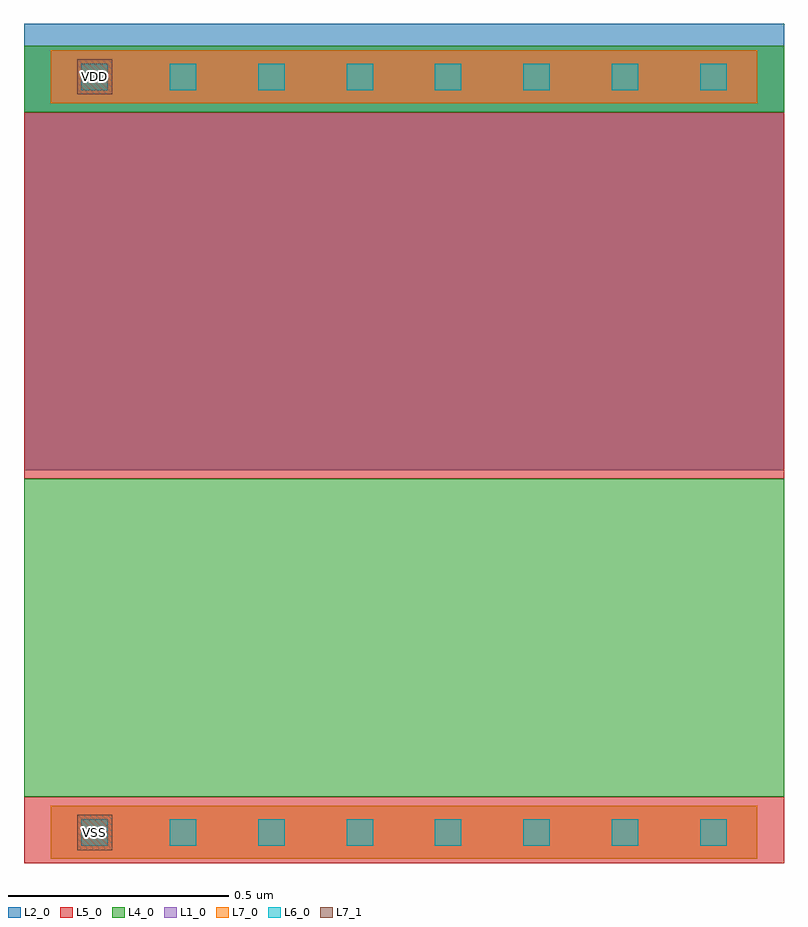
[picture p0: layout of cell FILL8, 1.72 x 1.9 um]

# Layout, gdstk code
import gdstk
lib = gdstk.Library(unit=1e-6, precision=5e-10)
def R(c, l, rs):  # rectangles x0, y0, x1, y1
    for r in rs: c.add(gdstk.rectangle(r[:2], r[2:], *l))
def A(c, l, x, y, w, h, nx, ny, dx, dy):  # array of equal rectangles
    R(c, l, [(x+i*dx, y+j*dy, x+i*dx+w, y+j*dy+h) for i in range(nx) for j in range(ny)])
L1_0 = (1, 0)
L2_0 = (2, 0)
L4_0 = (4, 0)
L5_0 = (5, 0)
L6_0 = (6, 0)
L7_0 = (7, 0)
L7_1 = (7, 1)

fill8 = lib.new_cell('FILL8')
R(fill8, L1_0, [(0,-0.06,1.6,0.06), (0,1.65,1.6,1.77)])
R(fill8, L2_0, [(-0.06,0.82,1.66,1.83)])
R(fill8, L4_0, [(-0.06,0.08,1.66,0.8), (-0.06,1.63,1.66,1.78)])
R(fill8, L5_0, [(-0.06,-0.07,1.66,0.08), (-0.06,0.8,1.66,1.63)])
A(fill8, L6_0, 0.07, -0.03, 0.06, 0.06, 8, 2, 0.2, 1.71)
R(fill8, L7_0, [(0,-0.06,1.6,0.06), (0,1.65,1.6,1.77)])
R(fill8, L7_1, [(0.06,-0.04,0.14,0.04), (0.06,1.67,0.14,1.75)])
fill8.add(gdstk.Label('VSS', (0.1,0), layer=7, texttype=1))
fill8.add(gdstk.Label('VDD', (0.1,1.71), layer=7, texttype=1))
fill8.add(gdstk.Label('VDD', (0.09,1.7), layer=63, texttype=0))
fill8.add(gdstk.Label('VSS', (0.085,0), layer=63, texttype=0))

lib.write_gds('FILL8.gds')
